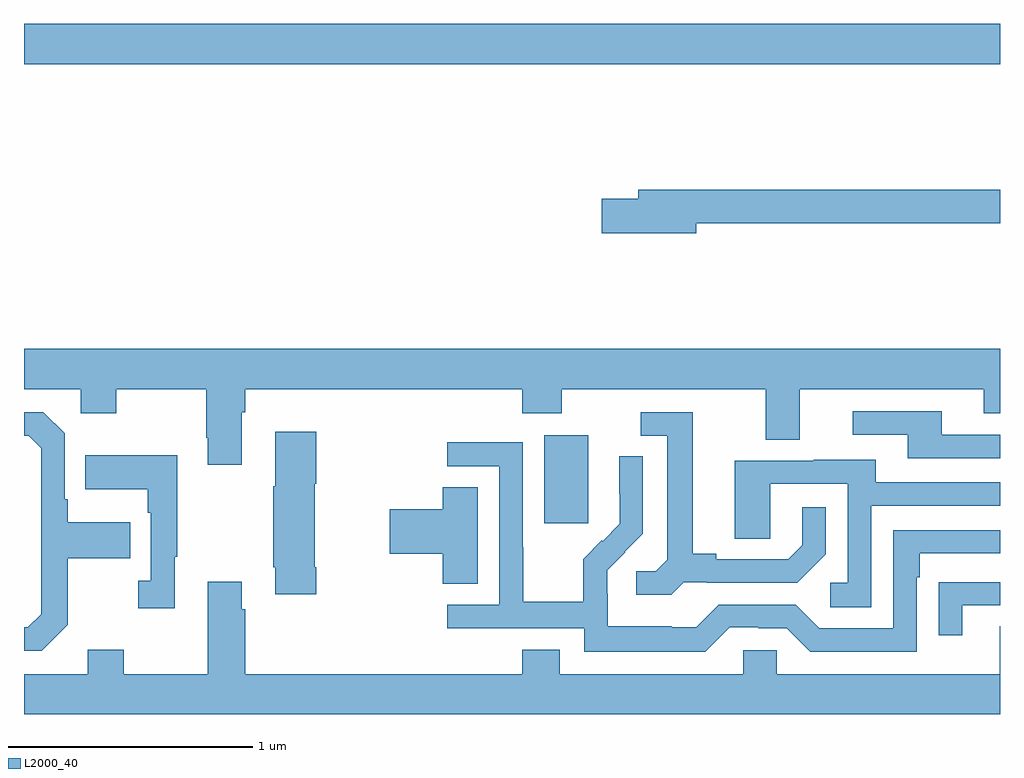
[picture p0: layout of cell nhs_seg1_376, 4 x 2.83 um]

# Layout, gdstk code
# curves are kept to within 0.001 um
import gdstk
lib = gdstk.Library(unit=1e-6, precision=1e-09)
def R(c, l, rs):  # rectangles x0, y0, x1, y1
    for r in rs: c.add(gdstk.rectangle(r[:2], r[2:], *l))
def P(c, l, *ps):  # polygons
    for p in ps: c.add(gdstk.Polygon(p, *l))
L2000_40 = (2000, 40)

nhs_seg1_376 = lib.new_cell('nhs_seg1_376')
R(nhs_seg1_376, L2000_40, [(133.133,555.177,133.312,555.538), (131,557.06,135,557.224)])
P(nhs_seg1_376, L2000_40, [(133.756,556.408),(135,556.408),(135,556.544),(133.517,556.544),(133.517,556.508),(133.368,556.508),(133.368,556.366),(133.756,556.366)],
  [(131.893,555.632),(131.906,555.632),(131.906,555.728),(133.043,555.728),(133.043,555.629),(133.203,555.629),(133.203,555.728),(134.039,555.728),(134.039,555.52),(134.179,555.52),(134.179,555.728),(134.933,555.728),(134.933,555.629),(135,555.629),(135,555.892),(131,555.892),(131,555.728),(131.232,555.728),(131.232,555.629),(131.379,555.629),(131.379,555.728),(131.746,555.728),(131.746,555.529),(131.753,555.529),(131.753,555.417),(131.893,555.417)],
  [(135,555.54),(134.761,555.54),(134.761,555.636),(134.397,555.636),(134.397,555.54),(134.621,555.54),(134.621,555.444),(135,555.444)],
  [(131.179,554.761),(131.179,555.034),(131.435,555.034),(131.435,555.181),(131.179,555.181),(131.179,555.277),(131.166,555.277),(131.166,555.546),(131.079,555.633),(131,555.633),(131,555.537),(131.019,555.537),(131.07,555.486),(131.07,554.805),(131.016,554.751),(131,554.751),(131,554.655),(131.073,554.655)],
  [(133.704,554.937),(133.798,554.937),(133.798,554.934),(134.17,554.934),(134.286,555.05),(134.286,555.244),(134.189,555.244),(134.189,555.087),(134.132,555.03),(133.837,555.03),(133.837,555.053),(133.741,555.053),(133.741,555.633),(133.527,555.633),(133.527,555.537),(133.637,555.537),(133.637,555.029),(133.59,554.982),(133.509,554.982),(133.509,554.885),(133.652,554.885)],
  [(132.197,554.998),(132.192,554.998),(132.192,555.34),(132.197,555.34),(132.197,555.553),(132.029,555.553),(132.029,555.329),(132.022,555.329),(132.022,554.998),(132.029,554.998),(132.029,554.886),(132.197,554.886)],
  [(133.893,554.751),(134.009,554.751),(134.009,554.748),(134.127,554.748),(134.223,554.652),(134.658,554.652),(134.658,554.957),(134.671,554.957),(134.671,555.054),(135,555.054),(135,555.15),(134.562,555.15),(134.562,554.748),(134.259,554.748),(134.163,554.844),(133.848,554.844),(133.755,554.751),(133.655,554.751),(133.655,554.755),(133.392,554.755),(133.392,554.889),(133.39,554.889),(133.39,554.986),(133.536,555.134),(133.536,555.452),(133.44,555.452),(133.44,555.298),(133.442,555.298),(133.442,555.176),(133.371,555.105),(133.368,555.108),(133.291,555.031),(133.291,554.857),(133.047,554.857),(133.047,555.08),(133.044,555.08),(133.044,555.51),(132.735,555.51),(132.735,555.411),(132.948,555.411),(132.948,554.844),(132.735,554.844),(132.735,554.748),(133.296,554.748),(133.296,554.651),(133.793,554.651)],
  [(131.617,555.041),(131.629,555.041),(131.629,555.457),(131.251,555.457),(131.251,555.317),(131.508,555.317),(131.508,555.221),(131.52,555.221),(131.52,554.942),(131.469,554.942),(131.469,554.829),(131.617,554.829)],
  [(134.472,555.249),(135,555.249),(135,555.345),(134.491,555.345),(134.491,555.439),(134.237,555.439),(134.237,555.435),(133.913,555.435),(133.913,555.115),(134.058,555.115),(134.058,555.339),(134.376,555.339),(134.376,554.934),(134.304,554.934),(134.304,554.833),(134.472,554.833)],
  [(132.859,555.326),(132.716,555.326),(132.716,555.236),(132.498,555.236),(132.498,555.053),(132.716,555.053),(132.716,554.929),(132.859,554.929)],
  [(135,554.755),(134.999,554.755),(134.999,554.56),(134.085,554.56),(134.085,554.658),(133.947,554.658),(133.947,554.56),(133.195,554.56),(133.195,554.659),(133.043,554.659),(133.043,554.56),(131.906,554.56),(131.906,554.825),(131.893,554.825),(131.893,554.938),(131.753,554.938),(131.753,554.56),(131.409,554.56),(131.409,554.659),(131.261,554.659),(131.261,554.56),(131,554.56),(131,554.396),(135,554.396)],
  [(134.845,554.841),(135,554.841),(135,554.937),(134.851,554.937),(134.851,554.936),(134.749,554.936),(134.749,554.718),(134.845,554.718)])

lib.write_gds('nhs_seg1_376.gds')
